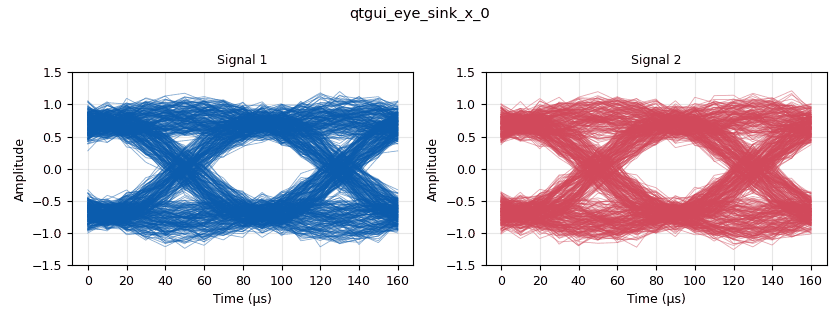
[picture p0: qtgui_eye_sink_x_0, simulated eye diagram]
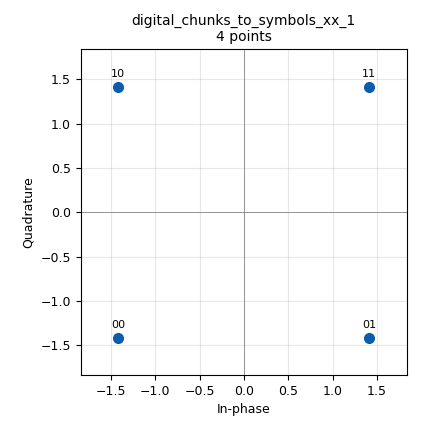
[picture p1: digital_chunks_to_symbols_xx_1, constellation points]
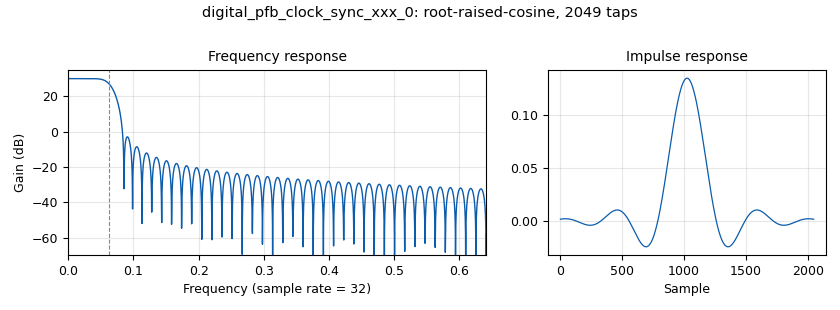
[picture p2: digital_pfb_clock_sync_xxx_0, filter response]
options:
  parameters:
    author: Homero Ortega Boada
    category: Custom
    description: Dale un valor a Es/No, corre el flujograma y obten la SER. Puedes sacar tantos valores como para construir una curva de SER
    generate_options: qt_gui
    id: ser_simulation
    output_language: python
    run: run_stop
    title: SER Simulation
  states: {}

blocks:
- name: Ch_taps
  id: variable
  parameters:
    value: fftpack.ifftshift(fftpack.ifft([tap0, tap1, tap2, tap3, tap4, tap5, tap6, tap7]))
  states: {}
- name: Dtiming
  id: variable_qtgui_range
  parameters:
    gui_hint: ManSol@0:1,0,1,1
    label: Timing
    rangeType: int
    start: '0'
    step: '1'
    stop: Sps-1
    value: '0'
  states: {}
- name: Eq_taps
  id: variable
  parameters:
    value: fftpack.ifftshift(fftpack.ifft([e_tap0, e_tap1, e_tap2, e_tap3, e_tap4, e_tap5, e_tap6, e_tap7]))
  states: {}
- name: Jitter
  id: variable_qtgui_range
  parameters:
    gui_hint: ChBeh@0:4,0,1,1
    label: Jitter
    rangeType: int
    start: '0'
    step: '1'
    stop: Sps
    value: '0'
  states: {}
- name: M
  id: variable
  parameters:
    value: len(constel)
  states: {}
- name: Noise
  id: variable_qtgui_range
  parameters:
    gui_hint: ChBeh@0:0,0,1,1
    label: Noise
    start: '0'
    step: '0.1'
    stop: '10'
    value: '0.1'
  states: {}
- name: Retardo_sym
  id: variable_qtgui_range
  parameters:
    gui_hint: ManSol@0:0,0,1,1
    label: Delay transmited signal to match with the received signal
    rangeType: int
    start: '0'
    step: '1'
    stop: Sps*10
    value: '10'
  states: {}
- name: Rs
  id: variable
  parameters:
    value: samp_rate/Sps
  states: {}
- name: Sps
  id: variable
  parameters:
    value: '1'
  states: {state: disabled}
- name: Sps
  id: variable
  parameters:
    value: '8'
  states: {}
- name: a_d
  id: variable_qtgui_range
  parameters:
    gui_hint: ChBeh@0:3,0,1,1
    label: Fading
    start: '0'
    step: 1/100
    stop: '1'
    value: '1'
  states: {}
- name: alpha
  id: variable
  parameters:
    value: '0.3'
  states: {}
- name: constel
  id: variable
  parameters:
    value: digital.constellation_qpsk().points()
  states: {}
- name: e_tap0
  id: variable_qtgui_range
  parameters:
    gui_hint: ManSol@1:4,0,1,1
    label: Sub Band 0
    start: '0'
    step: '0.01'
    stop: '3'
    value: '1'
  states: {}
- name: e_tap1
  id: variable_qtgui_range
  parameters:
    gui_hint: ManSol@1:5,0,1,1
    label: Sub Band 1
    start: '0'
    step: '0.01'
    stop: '3'
    value: '1'
  states: {}
- name: e_tap2
  id: variable_qtgui_range
  parameters:
    gui_hint: ManSol@1:6,0,1,1
    label: Sub Band 2
    start: '0'
    step: '0.01'
    stop: '3'
    value: '1'
  states: {}
- name: e_tap3
  id: variable_qtgui_range
  parameters:
    gui_hint: ManSol@1:8,0,1,1
    label: Sub Band 3
    start: '0'
    step: '0.01'
    stop: '3'
    value: '1'
  states: {}
- name: e_tap4
  id: variable_qtgui_range
  parameters:
    gui_hint: ManSol@1:0,0,1,1
    label: Sub Band -4,4
    start: '0'
    step: '0.01'
    stop: '3'
    value: '1'
  states: {}
- name: e_tap5
  id: variable_qtgui_range
  parameters:
    gui_hint: ManSol@1:1,0,1,1
    label: Sub Band -3
    start: '0'
    step: '0.01'
    stop: '3'
    value: '1'
  states: {}
- name: e_tap6
  id: variable_qtgui_range
  parameters:
    gui_hint: ManSol@1:2,0,1,1
    label: Sub Band -2
    start: '0'
    step: '0.01'
    stop: '3'
    value: '1'
  states: {}
- name: e_tap7
  id: variable_qtgui_range
  parameters:
    gui_hint: ManSol@1:3,0,1,1
    label: Sub Band -1
    start: '0'
    step: '0.01'
    stop: '3'
    value: '1'
  states: {}
- name: eq_gain
  id: variable
  parameters:
    value: '0.01'
  states: {}
- name: f_d
  id: variable_qtgui_range
  parameters:
    gui_hint: ChBeh@0:2,0,1,1
    label: Frequency Deviation
    start: '0'
    step: 1400/100
    stop: '1400'
    value: '0'
  states: {}
- name: h
  id: variable
  parameters:
    value: micodigo.rrcos(Sps,ntaps,alpha)
  states: {}
- name: mapdirect
  id: variable
  parameters:
    value: coding.direct_map(constel)
  states: {}
- name: mapinverse
  id: variable
  parameters:
    value: coding.inverse_map(constel)
  states: {}
- name: nfilts
  id: variable
  parameters:
    value: '32'
  states: {}
- name: ntaps
  id: variable
  parameters:
    value: '64'
  states: {}
- name: phase_d
  id: variable_qtgui_range
  parameters:
    gui_hint: ChBeh@0:1,0,1,1
    label: Phase Deviatio
    start: '-math.pi'
    step: 2*math.pi/100
    stop: math.pi
    value: '0'
  states: {}
- name: run_stop
  id: variable_qtgui_check_box
  parameters:
    'false': 'False'
    gui_hint: controles@0:0,0,1,1
    label: Inicial/Parar
    'true': 'True'
    type: int
    value: 'True'
  states: {}
- name: samp_rate
  id: variable
  parameters:
    value: 100e3
  states: {}
- name: tap0
  id: variable_qtgui_range
  parameters:
    gui_hint: ChBeh@1:4,0,1,1
    label: Sub Band 0
    start: '0'
    step: '0.01'
    stop: '3'
    value: '1'
  states: {}
- name: tap1
  id: variable_qtgui_range
  parameters:
    gui_hint: ChBeh@1:5,0,1,1
    label: Sub Band 1
    start: '0'
    step: '0.01'
    stop: '3'
    value: '1'
  states: {}
- name: tap2
  id: variable_qtgui_range
  parameters:
    gui_hint: ChBeh@1:6,0,1,1
    label: Sub Band 2
    start: '0'
    step: '0.01'
    stop: '3'
    value: '1'
  states: {}
- name: tap3
  id: variable_qtgui_range
  parameters:
    gui_hint: ChBeh@1:8,0,1,1
    label: Sub Band 3
    start: '0'
    step: '0.01'
    stop: '3'
    value: '1'
  states: {}
- name: tap4
  id: variable_qtgui_range
  parameters:
    gui_hint: ChBeh@1:0,0,1,1
    label: Sub Band -4,4
    start: '0'
    step: '0.01'
    stop: '3'
    value: '1'
  states: {}
- name: tap5
  id: variable_qtgui_range
  parameters:
    gui_hint: ChBeh@1:1,0,1,1
    label: Sub Band -3
    start: '0'
    step: '0.01'
    stop: '3'
    value: '1'
  states: {}
- name: tap6
  id: variable_qtgui_range
  parameters:
    gui_hint: ChBeh@1:2,0,1,1
    label: Sub Band -2
    start: '0'
    step: '0.01'
    stop: '3'
    value: '1'
  states: {}
- name: tap7
  id: variable_qtgui_range
  parameters:
    gui_hint: ChBeh@1:3,0,1,1
    label: Sub Band -1
    start: '0'
    step: '0.01'
    stop: '3'
    value: '1'
  states: {}
- name: ChBeh
  id: qtgui_tab_widget
  parameters:
    gui_hint: controles@0:1,0,1,1
    label0: Channel Parameters
    label1: Channel Nonlinearities
    num_tabs: '2'
  states: {}
- name: ManSol
  id: qtgui_tab_widget
  parameters:
    gui_hint: controles@0:3,0,1,1
    label0: Solutions Testing
    label1: Manual Equalizer Solution Control
    num_tabs: '2'
  states: {}
- name: analog_const_source_x_0
  id: analog_const_source_x
  parameters:
    const: np.exp(phase_d*1j)
    type: complex
  states: {}
- name: analog_noise_source_x_0
  id: analog_noise_source_x
  parameters:
    amp: Noise
    noise_type: analog.GR_GAUSSIAN
    seed: '0'
    type: complex
  states: {}
- name: analog_random_source_x_1
  id: analog_random_source_x
  parameters:
    max: M
    min: '0'
    num_samps: '10000000'
    repeat: 'True'
    type: byte
  states: {}
- name: analog_sig_source_x_1
  id: analog_sig_source_x
  parameters:
    amp: '1'
    freq: f_d
    offset: '0'
    phase: '0'
    samp_rate: samp_rate
    type: complex
    waveform: analog.GR_COS_WAVE
  states: {}
- name: b_LMS_Equalizer2_cc_0
  id: b_LMS_Equalizer2_cc
  parameters:
    Constelacion: constel
    Sps: '1'
    ntaps: '11'
  states: {}
- name: b_demod_constelacion_cb_0
  id: b_demod_constelacion_cb
  parameters:
    Constelacion: constel
  states: {}
- name: blocks_add_xx_0
  id: blocks_add_xx
  parameters:
    type: complex
  states: {}
- name: blocks_char_to_float_0_0_0
  id: blocks_char_to_float
  parameters:
    scale: '1'
  states: {}
- name: blocks_char_to_float_0_1
  id: blocks_char_to_float
  parameters:
    scale: '1'
  states: {}
- name: blocks_delay_0
  id: blocks_delay
  parameters:
    delay: Retardo_sym
    type: float
  states: {}
- name: blocks_delay_1
  id: blocks_delay
  parameters:
    delay: Jitter
    type: complex
  states: {}
- name: blocks_multiply_const_vxx_0
  id: blocks_multiply_const_vxx
  parameters:
    const: a_d
    type: complex
  states: {}
- name: blocks_multiply_const_vxx_0_0
  id: blocks_multiply_const_vxx
  parameters:
    const: '0.5'
    type: complex
  states: {}
- name: blocks_multiply_xx_0
  id: blocks_multiply_xx
  parameters:
    num_inputs: '3'
    type: complex
  states: {}
- name: blocks_null_sink_0
  id: blocks_null_sink
  parameters:
    type: byte
  states: {}
- name: channels_channel_model_0
  id: channels_channel_model
  parameters:
    epsilon: '1.'
    freq_offset: '0'
    noise_voltage: '0'
    seed: '13'
    taps: Ch_taps
  states: {}
- name: coding
  id: epy_module
  parameters:
    source_code: "# this module will be imported in the into your flowgraph\nimport numpy\nimport math\n#######################################################\n##        Done by Homero Ortega Boada              ##\n##        comdiguis@saber.uis.edu.co                 ##\n##     Universidad Industrial de Santander           ##\n#######################################################\n#######################################################\n##       Constellation map  identification           ##\n#######################################################                  \n# Constellation points are analyzed to determine the \n# the map used for ordering of the constellation points\ndef sum_modulus(a,b,modulus):\n    # realiza una suma de a y b en modulo modulus\n    return (a+b)%modulus\n\ndef angle_map(constellation_points):\n    # esta funcion entrega todos los angulos positivos entre 0 y 2pi\n    angles=numpy.angle(constellation_points)\n    return sum_modulus(angles, 2*math.pi, 2*math.pi)\n\ndef inverse_map(constellation_points):\n    M=len(constellation_points)\n    angles=angle_map(constellation_points)\n    angles=sum_modulus(angles,-angles[0], 2*math.pi) # giro a agulo cero\n    delta_angle= 2*math.pi/M     # angulo entre puntos\n    cod_inv=numpy.round(angles/delta_angle)\n    cod_inv=cod_inv.astype(numpy.int) #conversion a entero \n    return cod_inv\n\ndef direct_map(constellation_points):\n    M=len(constellation_points)\n    codinv=inverse_map(constellation_points)\n    coddirect=numpy.array([0]*M)\n    for j in range(M):\n        temp=numpy.where(codinv==j)\n        coddirect[j]=temp[0][0]\n    return coddirect\n\n\"\"\" # SECCION DE PRUEBAS DEL CODIGO\nimport gnuradio.digital as digital\nconstelacion=digital.constellation_8psk().points()\nprint(\"constelacion = \", constelacion)\nmapdirect=direct_map(constelacion)\nprint(\"codigo directo = \", mapdirect)\nmapinverse=inverse_map(constelacion)\nprint(\"codigo inverso = \", mapinverse)\n\"\"\"\n\n\n\n\n\n\n"
  states: {}
- name: controles
  id: qtgui_tab_widget
  parameters:
    gui_hint: 1,0,1,1
    label0: El canal y Soluciones a Efectos del Canal
    num_tabs: '1'
  states: {}
- name: digital_chunks_to_symbols_xx_1
  id: digital_chunks_to_symbols_xx
  parameters:
    dimension: '1'
    in_type: byte
    out_type: complex
    symbol_table: constel
  states: {}
- name: digital_diff_decoder_bb_0
  id: digital_diff_decoder_bb
  parameters:
    modulus: M
  states: {}
- name: digital_diff_encoder_bb_0
  id: digital_diff_encoder_bb
  parameters:
    modulus: M
  states: {}
- name: digital_map_bb_0
  id: digital_map_bb
  parameters:
    map: mapdirect
  states: {}
- name: digital_map_bb_0_0
  id: digital_map_bb
  parameters:
    map: mapinverse
  states: {}
- name: digital_pfb_clock_sync_xxx_0
  id: digital_pfb_clock_sync_xxx
  parameters:
    filter_size: nfilts
    init_phase: nfilts/2
    loop_bw: 2*math.pi/100.0
    max_dev: '1.5'
    osps: '1'
    sps: Sps
    taps: firdes.root_raised_cosine(nfilts, nfilts, 1.0/float(Sps), alpha, ntaps*nfilts)
    type: ccf
  states: {}
- name: import
  id: import
  parameters:
    imports: import math
  states: {}
- name: import_0
  id: import
  parameters:
    imports: import numpy as np
  states: {}
- name: import_scipy
  id: import
  parameters:
    imports: from scipy import fftpack
  states: {}
- name: interp_fir_filter_xxx_0
  id: interp_fir_filter_xxx
  parameters:
    interp: Sps
    taps: h
    type: ccf
  states: {}
- name: micodigo
  id: epy_module
  parameters:
    source_code: "# this module will be imported in the into your flowgraph\nimport numpy as np\nimport math\n\ndef filtroNyquist(Sps,ntaps):\n    k=np.linspace(-ntaps/2,ntaps/2-1,ntaps)\n    h=np.sinc(k/Sps)\n    return h\n\n#######################################################\n##               Forma Coseno Alzado                 ##\n#######################################################                       \ndef rcos(Sps,ntaps,beta):\n    if beta==0:\n        h=filtroNyquist(Sps,ntaps)\n    else:\n        h=ntaps*[0,]\n        for n in range(ntaps):\n            k=n-ntaps/2. # esto es para que h[n] quede centrada en la mitad del vector\n            if abs(k)==Sps/(2.*beta):\n                h[n]=np.sinc(1./(2.*beta))*math.pi/4.\n            else:\n                h[n]=np.sinc(k/Sps)*math.cos(beta*k*math.pi/Sps)/(1.-(2.*beta*k/Sps)**2)                \n    Amp=np.amax(h)\n    return h/Amp\n    \n    \n #######################################################\n##            Forma Raiz de Coseno Alzado            ##\n#######################################################                       \n\ndef rrcos(Sps,ntaps,beta):\n    if beta==0:\n        h=filtroNyquist(Sps,ntaps)\n    else:\n        h=ntaps*[0,]\n        beta4=4.*beta\n        for n in range(ntaps):\n            k=n-ntaps/2. # esto es para que h[n] quede centrada en la mitad del vector\n            if k==0:\n                h[n]=1+beta*(4./math.pi-1.)\n            elif abs(k)==Sps/beta4:\n                ha=(1.+2./math.pi)*math.sin(math.pi/beta4)\n                hb=(1.-2./math.pi)*math.cos(math.pi/beta4)\n                h[n]=(ha+hb)*beta/math.sqrt(2.)\n            else:\n                ks=k/Sps\n                kspi=math.pi*ks\n                Num=math.sin(kspi*(1-beta))+beta4*ks*math.cos(kspi*(1+beta))\n                Den=kspi*(1.-(beta4*ks)**2)\n                h[n]=Num/Den                \n    Amp=np.amax(h)\n    return h/Amp\n\n"
  states: {}
- name: note_0
  id: note
  parameters:
    note: EL  CANAL
  states: {}
- name: note_0_0
  id: note
  parameters:
    note: SOLUCIONES AL  CANAL
  states: {}
- name: note_0_0_1_0_0
  id: note
  parameters:
    note: 'CAPA: Diff Coding'
  states: {}
- name: note_0_0_1_0_0_0
  id: note
  parameters:
    note: 'CAPA: Modulacion'
  states: {}
- name: note_0_0_1_0_0_1
  id: note
  parameters:
    note: 'CAPA: Canal'
  states: {}
- name: note_0_0_1_0_0_1_0
  id: note
  parameters:
    note: Precanal
  states: {}
- name: qtgui_const_sink_x_0
  id: qtgui_const_sink_x
  parameters:
    color2: '"green"'
    gui_hint: 7,0,1,1
    label1: Entrada del Canal
    label2: Salida del Ecualizador
    nconnections: '2'
    size: '1024'
    type: complex
  states: {}
- name: qtgui_eye_sink_x_0
  id: qtgui_eye_sink_x
  parameters:
    gui_hint: 1,1,1,2
    samp_per_symbol: Sps
    size: 1024*10
    srate: samp_rate
    type: complex
    ymax: '1.5'
    ymin: '-1.5'
  states: {}
- name: qtgui_time_sink_x_1_0
  id: qtgui_time_sink_x
  parameters:
    gui_hint: 7,1,1,2
    label1: T-1
    label2: R-1
    marker1: '0'
    marker2: '0'
    nconnections: '2'
    size: '1024'
    srate: Rs
    stemplot: 'True'
    type: float
    ymax: M
  states: {}
- name: virtual_sink_0_0_0_1_0
  id: virtual_sink
  parameters:
    stream_id: T0
  states: {}
- name: virtual_sink_0_0_0_2_0_0
  id: virtual_sink
  parameters:
    stream_id: R0
  states: {}
- name: virtual_source_0_0
  id: virtual_source
  parameters:
    stream_id: R1
  states: {}
- name: virtual_source_0_0_0
  id: virtual_source
  parameters:
    stream_id: R2
  states: {}
- name: virtual_source_0_1_1_0_0
  id: virtual_source
  parameters:
    stream_id: R-1
  states: {}
- name: virtual_source_0_1_1_1
  id: virtual_source
  parameters:
    stream_id: T-1
  states: {}
- name: virtual_source_0_2
  id: virtual_source
  parameters:
    stream_id: T1
  states: {}
- name: vs0_1
  id: virtual_sink
  parameters:
    stream_id: T-1
  states: {}
- name: vs0_1_0_0
  id: virtual_sink
  parameters:
    stream_id: R1
  states: {}
- name: vs0_1_0_0_0
  id: virtual_sink
  parameters:
    stream_id: T1
  states: {}
- name: vs0_1_0_1
  id: virtual_sink
  parameters:
    stream_id: R2
  states: {}
- name: vs1_0_0
  id: virtual_sink
  parameters:
    stream_id: R-1
  states: {}

connections:
- [analog_const_source_x_0, '0', blocks_multiply_xx_0, '0']
- [analog_noise_source_x_0, '0', blocks_add_xx_0, '1']
- [analog_random_source_x_1, '0', digital_diff_encoder_bb_0, '0']
- [analog_random_source_x_1, '0', vs0_1, '0']
- [analog_sig_source_x_1, '0', blocks_multiply_xx_0, '1']
- [b_LMS_Equalizer2_cc_0, '0', b_demod_constelacion_cb_0, '0']
- [b_LMS_Equalizer2_cc_0, '0', vs0_1_0_0, '0']
- [b_demod_constelacion_cb_0, '0', digital_map_bb_0_0, '0']
- [b_demod_constelacion_cb_0, '0', virtual_sink_0_0_0_2_0_0, '0']
- [blocks_add_xx_0, '0', blocks_multiply_xx_0, '2']
- [blocks_char_to_float_0_0_0, '0', qtgui_time_sink_x_1_0, '1']
- [blocks_char_to_float_0_1, '0', blocks_delay_0, '0']
- [blocks_delay_0, '0', qtgui_time_sink_x_1_0, '0']
- [blocks_delay_1, '0', blocks_multiply_const_vxx_0, '0']
- [blocks_multiply_const_vxx_0, '0', channels_channel_model_0, '0']
- [blocks_multiply_const_vxx_0_0, '0', interp_fir_filter_xxx_0, '0']
- [blocks_multiply_const_vxx_0_0, '0', vs0_1_0_0_0, '0']
- [blocks_multiply_xx_0, '0', digital_pfb_clock_sync_xxx_0, '0']
- [blocks_multiply_xx_0, '0', vs0_1_0_1, '0']
- [channels_channel_model_0, '0', blocks_add_xx_0, '0']
- [digital_chunks_to_symbols_xx_1, '0', blocks_multiply_const_vxx_0_0, '0']
- [digital_diff_decoder_bb_0, '0', blocks_null_sink_0, '0']
- [digital_diff_decoder_bb_0, '0', vs1_0_0, '0']
- [digital_diff_encoder_bb_0, '0', digital_map_bb_0, '0']
- [digital_map_bb_0, '0', digital_chunks_to_symbols_xx_1, '0']
- [digital_map_bb_0, '0', virtual_sink_0_0_0_1_0, '0']
- [digital_map_bb_0_0, '0', digital_diff_decoder_bb_0, '0']
- [digital_pfb_clock_sync_xxx_0, '0', b_LMS_Equalizer2_cc_0, '0']
- [interp_fir_filter_xxx_0, '0', blocks_delay_1, '0']
- [virtual_source_0_0, '0', qtgui_const_sink_x_0, '1']
- [virtual_source_0_0_0, '0', qtgui_eye_sink_x_0, '0']
- [virtual_source_0_1_1_0_0, '0', blocks_char_to_float_0_0_0, '0']
- [virtual_source_0_1_1_1, '0', blocks_char_to_float_0_1, '0']
- [virtual_source_0_2, '0', qtgui_const_sink_x_0, '0']

metadata:
  file_format: 1
